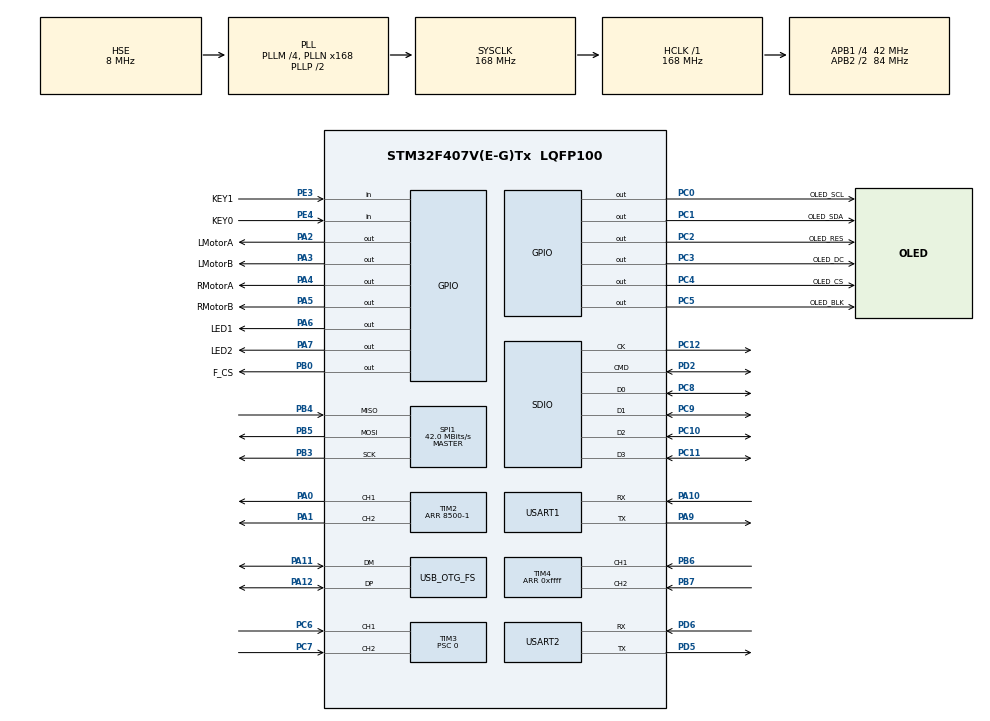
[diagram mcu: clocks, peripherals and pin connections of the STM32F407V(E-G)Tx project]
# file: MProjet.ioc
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Mcu.Family=STM32F4
Mcu.Name=STM32F407V(E-G)Tx
Mcu.Package=LQFP100
NVIC.PriorityGroup=NVIC_PRIORITYGROUP_4
NVIC.TIM8_TRG_COM_TIM14_IRQn=true\:0\:0\:false\:false\:true\:true\:true
NVIC.TIM8_UP_TIM13_IRQn=true\:0\:0\:false\:false\:true\:true\:true
NVIC.USART1_IRQn=true\:0\:0\:false\:false\:true\:true\:true
NVIC.USART2_IRQn=true\:0\:0\:false\:false\:true\:true\:true
PA0-WKUP.Signal=S_TIM2_CH1_ETR
PA1.Signal=S_TIM2_CH2
PA10.Mode=Asynchronous
PA10.Signal=USART1_RX
PA11.Mode=Host_Only
PA11.Signal=USB_OTG_FS_DM
PA12.Mode=Host_Only
PA12.Signal=USB_OTG_FS_DP
PA2.GPIO_Label=LMotorA
PA2.Signal=GPIO_Output
PA3.GPIO_Label=LMotorB
PA3.Signal=GPIO_Output
PA4.GPIO_Label=RMotorA
PA4.Signal=GPIO_Output
PA5.GPIO_Label=RMotorB
PA5.Signal=GPIO_Output
PA6.GPIO_Label=LED1
PA6.GPIO_ModeDefaultOutputPP=GPIO_MODE_OUTPUT_PP
PA6.GPIO_PuPd=GPIO_NOPULL
PA6.GPIO_Speed=GPIO_SPEED_FREQ_LOW
PA6.PinState=GPIO_PIN_RESET
PA6.Signal=GPIO_Output
PA7.GPIO_Label=LED2
PA7.GPIO_ModeDefaultOutputPP=GPIO_MODE_OUTPUT_PP
PA7.GPIO_PuPd=GPIO_NOPULL
PA7.GPIO_Speed=GPIO_SPEED_FREQ_LOW
PA7.PinState=GPIO_PIN_RESET
PA7.Signal=GPIO_Output
PA9.Mode=Asynchronous
PA9.Signal=USART1_TX
PB0.GPIO_Label=F_CS
PB0.Signal=GPIO_Output
PB3.Mode=Full_Duplex_Master
PB3.Signal=SPI1_SCK
PB4.Mode=Full_Duplex_Master
PB4.Signal=SPI1_MISO
PB5.Mode=Full_Duplex_Master
PB5.Signal=SPI1_MOSI
PB6.Signal=S_TIM4_CH1
PB7.Signal=S_TIM4_CH2
PC0.GPIO_Label=OLED_SCL
PC0.GPIO_ModeDefaultOutputPP=GPIO_MODE_OUTPUT_PP
PC0.GPIO_PuPd=GPIO_NOPULL
PC0.GPIO_Speed=GPIO_SPEED_FREQ_LOW
PC0.PinState=GPIO_PIN_RESET
PC0.Signal=GPIO_Output
PC1.GPIO_Label=OLED_SDA
PC1.GPIO_ModeDefaultOutputPP=GPIO_MODE_OUTPUT_PP
PC1.GPIO_PuPd=GPIO_NOPULL
PC1.GPIO_Speed=GPIO_SPEED_FREQ_LOW
PC1.PinState=GPIO_PIN_RESET
PC1.Signal=GPIO_Output
PC10.Mode=SD_4_bits_Wide_bus
PC10.Signal=SDIO_D2
PC11.Mode=SD_4_bits_Wide_bus
PC11.Signal=SDIO_D3
PC12.Mode=SD_4_bits_Wide_bus
PC12.Signal=SDIO_CK
PC14-OSC32_IN.Mode=LSE-External-Oscillator
PC14-OSC32_IN.Signal=RCC_OSC32_IN
PC15-OSC32_OUT.Mode=LSE-External-Oscillator
PC15-OSC32_OUT.Signal=RCC_OSC32_OUT
PC2.GPIO_Label=OLED_RES
PC2.GPIO_ModeDefaultOutputPP=GPIO_MODE_OUTPUT_PP
PC2.GPIO_PuPd=GPIO_NOPULL
PC2.GPIO_Speed=GPIO_SPEED_FREQ_LOW
PC2.PinState=GPIO_PIN_RESET
PC2.Signal=GPIO_Output
PC3.GPIO_Label=OLED_DC
PC3.GPIO_ModeDefaultOutputPP=GPIO_MODE_OUTPUT_PP
PC3.GPIO_PuPd=GPIO_NOPULL
PC3.GPIO_Speed=GPIO_SPEED_FREQ_LOW
PC3.PinState=GPIO_PIN_RESET
PC3.Signal=GPIO_Output
PC4.GPIO_Label=OLED_CS
PC4.Signal=GPIO_Output
PC5.GPIO_Label=OLED_BLK
PC5.GPIO_ModeDefaultOutputPP=GPIO_MODE_OUTPUT_PP
PC5.GPIO_PuPd=GPIO_NOPULL
PC5.GPIO_Speed=GPIO_SPEED_FREQ_LOW
PC5.PinState=GPIO_PIN_RESET
PC5.Signal=GPIO_Output
PC6.Signal=S_TIM3_CH1
PC7.Signal=S_TIM3_CH2
PC8.Mode=SD_4_bits_Wide_bus
PC8.Signal=SDIO_D0
PC9.Mode=SD_4_bits_Wide_bus
PC9.Signal=SDIO_D1
PD2.Mode=SD_4_bits_Wide_bus
PD2.Signal=SDIO_CMD
PD5.Mode=Asynchronous
PD5.Signal=USART2_TX
PD6.Mode=Asynchronous
PD6.Signal=USART2_RX
PE3.GPIO_Label=KEY1
PE3.Signal=GPIO_Input
PE4.GPIO_Label=KEY0
PE4.Signal=GPIO_Input
PH0-OSC_IN.Mode=HSE-External-Oscillator
PH0-OSC_IN.Signal=RCC_OSC_IN
PH1-OSC_OUT.Mode=HSE-External-Oscillator
PH1-OSC_OUT.Signal=RCC_OSC_OUT
ProjectManager.HeapSize=0x200
ProjectManager.StackSize=0x400
ProjectManager.TargetToolchain=MDK-ARM V5.27
RCC.48MHZClocksFreq_Value=48000000
RCC.AHBFreq_Value=168000000
RCC.APB1CLKDivider=RCC_HCLK_DIV4
RCC.APB1Freq_Value=42000000
RCC.APB1TimFreq_Value=84000000
RCC.APB2CLKDivider=RCC_HCLK_DIV2
RCC.APB2Freq_Value=84000000
RCC.APB2TimFreq_Value=168000000
RCC.CortexFreq_Value=168000000
RCC.HCLKFreq_Value=168000000
RCC.HSE_VALUE=8000000
RCC.HSI_VALUE=16000000
RCC.PLLM=4
RCC.PLLN=168
RCC.PLLQ=7
RCC.SYSCLKFreq_VALUE=168000000
RCC.SYSCLKSource=RCC_SYSCLKSOURCE_PLLCLK
RCC.VCOOutputFreq_Value=336000000
SH.S_TIM2_CH1_ETR.0=TIM2_CH1,PWM Generation1 CH1
SH.S_TIM2_CH2.0=TIM2_CH2,PWM Generation2 CH2
SH.S_TIM3_CH1.0=TIM3_CH1,Encoder_Interface
SH.S_TIM3_CH2.0=TIM3_CH2,Encoder_Interface
SH.S_TIM4_CH1.0=TIM4_CH1,Encoder_Interface
SH.S_TIM4_CH2.0=TIM4_CH2,Encoder_Interface
SPI1.BaudRatePrescaler=SPI_BAUDRATEPRESCALER_2
SPI1.CalculateBaudRate=42.0 MBits/s
SPI1.Direction=SPI_DIRECTION_2LINES
SPI1.Mode=SPI_MODE_MASTER
SPI1.VirtualType=VM_MASTER
TIM13.Period=1000-1
TIM13.Prescaler=840-1
TIM14.Period=1000-1
TIM14.Prescaler=840-1
TIM2.Channel-PWM\ Generation1\ CH1=TIM_CHANNEL_1
TIM2.Channel-PWM\ Generation2\ CH2=TIM_CHANNEL_2
TIM2.Period=8500-1
TIM3.EncoderMode=TIM_ENCODERMODE_TI12
TIM3.IC1Filter=15
TIM3.IC2Filter=15
TIM3.Period=0xffff
TIM3.Prescaler=0
TIM4.EncoderMode=TIM_ENCODERMODE_TI12
TIM4.IC1Filter=15
TIM4.IC2Filter=15
TIM4.Period=0xffff
TIM5.Period=1
TIM5.Prescaler=84-1
USART1.VirtualMode=VM_ASYNC
USART2.VirtualMode=VM_ASYNC
USB_OTG_FS.VirtualMode=Host_Only
USB_OTG_FS.phy_itface=HCD_PHY_EMBEDDED
VP_TIM13_VS_ClockSourceINT.Mode=Enable_Timer
VP_TIM14_VS_ClockSourceINT.Mode=Enable_Timer
VP_TIM5_VS_ClockSourceINT.Mode=Internal
board=custom

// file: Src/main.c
/* USER CODE BEGIN Header */
/**
  ******************************************************************************
  * @file           : main.c
  * @brief          : Main program body
  ******************************************************************************
  * @attention
  *
  * <h2><center>&copy; Copyright (c) 2019 STMicroelectronics.
  * All rights reserved.</center></h2>
  *
  * This software component is licensed by ST under BSD 3-Clause license,
  * the "License"; You may not use this file except in compliance with the
  * License. You may obtain a copy of the License at:
  *                        opensource.org/licenses/BSD-3-Clause
  *
  ******************************************************************************
  */
/* USER CODE END Header */

#include "main.h"

/* USER CODE BEGIN Includes */
#include "oled.h"
#include "key.h"
/* USER CODE END Includes */

SD_HandleTypeDef hsd;

SPI_HandleTypeDef hspi1;

TIM_HandleTypeDef htim2;
TIM_HandleTypeDef htim3;
TIM_HandleTypeDef htim4;
TIM_HandleTypeDef htim5;
TIM_HandleTypeDef htim13;
TIM_HandleTypeDef htim14;

UART_HandleTypeDef huart1;
UART_HandleTypeDef huart2;

HCD_HandleTypeDef hhcd_USB_OTG_FS;

void SystemClock_Config(void);
static void MX_GPIO_Init(void);
static void MX_TIM3_Init(void);
static void MX_USART1_UART_Init(void);
static void MX_TIM2_Init(void);
static void MX_TIM4_Init(void);
static void MX_TIM5_Init(void);
static void MX_TIM14_Init(void);
static void MX_SDIO_SD_Init(void);
static void MX_SPI1_Init(void);
static void MX_USB_OTG_FS_HCD_Init(void);
static void MX_USART2_UART_Init(void);
static void MX_TIM13_Init(void);
/* USER CODE BEGIN PFP */

void user_pwm_setvalue(uint16_t v1,uint16_t v2);
void HAL_Delay_us(uint16_t nus);

/* USER CODE END PFP */

/* USER CODE BEGIN 0 */

uint8_t ptim[] = "TIM2";//串口探针数据
uint16_t pulse1=4000,pulse2=4000;//两个PWM通道的脉宽值
uint8_t oled1[] = "LM";//OLED显示
uint8_t oled2[] = "RM";//OLED显示
uint32_t ecodl,ecodr;//两个电机100ms的脉冲数 由定时器13定时测量。
uint16_t tcount14;//定时器14计数值，每10ms记一个数。
uint8_t key0state,key1state,key0flag,key1flag;

/* USER CODE END 0 */

int main(void)
{

  /* MCU Configuration--------------------------------------------------------*/

  /* Reset of all peripherals, Initializes the Flash interface and the Systick. */
  HAL_Init();

  /* Configure the system clock */
  SystemClock_Config();

  /* Initialize all configured peripherals */
  MX_GPIO_Init();
  MX_TIM3_Init();
  MX_USART1_UART_Init();
  MX_TIM2_Init();
  MX_TIM4_Init();
  MX_TIM5_Init();
  MX_TIM14_Init();
  MX_SDIO_SD_Init();
  MX_SPI1_Init();
  MX_USB_OTG_FS_HCD_Init();
  MX_USART2_UART_Init();
  MX_TIM13_Init();
  /* USER CODE BEGIN 2 */

  HAL_TIM_Base_Start_IT(&htim14);
	HAL_Delay(5);
	HAL_TIM_Base_Start_IT(&htim13);
	Lcd_Init();			//初始化OLED
	LCD_Clear(WHITE);
	BACK_COLOR=BLACK;
  HAL_UART_Transmit(&huart1, (uint8_t *)ptim,sizeof(ptim),0xFFFF);
	user_pwm_setvalue(pulse1,pulse2);
	LCD_Clear(BLACK);
	LCD_ShowNum(28,0,0xef67,5,RED);
	HAL_TIM_Encoder_Start(&htim3, TIM_CHANNEL_ALL);
	HAL_TIM_Encoder_Start(&htim4, TIM_CHANNEL_ALL);
	LCD_ShowString(5,0,oled1,RED);
	LCD_ShowString(5,18,oled2,RED);
  /* USER CODE END 2 */

  /* Infinite loop */
  while (1)
  {

    /* USER CODE BEGIN 3 */
		LCD_ShowNum(28,0,ecodl,5,BLUE);
		LCD_ShowNum(28,18,ecodr,5,BLUE);
		HAL_Delay(50);
		if(key0flag==1)
		{
			LCD_ShowNum(28,36,0xeeee,5,BLUE);
			key0flag=0;

		}
		if(key1flag==1)
		{
			LCD_ShowNum(28,36,0xaaaa,5,BLUE);
			key1flag=0;

		}
/**********************TIM5延时测试******************************
		HAL_Delay_us(100);
		HAL_GPIO_TogglePin(LED1_GPIO_Port,LED1_Pin);
    HAL_GPIO_TogglePin(LED2_GPIO_Port,LED2_Pin);
****************************************************************/
//    if(HAL_GPIO_ReadPin(KEY0_GPIO_Port,KEY0_Pin)==0)
//		{
//			HAL_Delay_us(50);
//			if(HAL_GPIO_ReadPin(KEY0_GPIO_Port,KEY0_Pin)==0)
//			{
//				pulse1+=50;
//				if(pulse1>8400)
//				{
//					pulse1=2000;
//				}
//				user_pwm_setvalue(pulse1,pulse2);
//			}
//
//		}
//		LCD_ShowNum(28,0,0xef67,5,RED);
//		HAL_GPIO_TogglePin(LED1_GPIO_Port,LED1_Pin);
//    HAL_GPIO_TogglePin(LED2_GPIO_Port,LED2_Pin);

  }
  /* USER CODE END 3 */
}

void SystemClock_Config(void)
{
  RCC_OscInitTypeDef RCC_OscInitStruct = {0};
  RCC_ClkInitTypeDef RCC_ClkInitStruct = {0};

  /** Configure the main internal regulator output voltage
  */
  __HAL_RCC_PWR_CLK_ENABLE();
  __HAL_PWR_VOLTAGESCALING_CONFIG(PWR_REGULATOR_VOLTAGE_SCALE1);
  /** Initializes the CPU, AHB and APB busses clocks
  */
  RCC_OscInitStruct.OscillatorType = RCC_OSCILLATORTYPE_HSE;
  RCC_OscInitStruct.HSEState = RCC_HSE_ON;
  RCC_OscInitStruct.PLL.PLLState = RCC_PLL_ON;
  RCC_OscInitStruct.PLL.PLLSource = RCC_PLLSOURCE_HSE;
  RCC_OscInitStruct.PLL.PLLM = 4;
  RCC_OscInitStruct.PLL.PLLN = 168;
  RCC_OscInitStruct.PLL.PLLP = RCC_PLLP_DIV2;
  RCC_OscInitStruct.PLL.PLLQ = 7;
  if (HAL_RCC_OscConfig(&RCC_OscInitStruct) != HAL_OK)
  {
    Error_Handler();
  }
  /** Initializes the CPU, AHB and APB busses clocks
  */
  RCC_ClkInitStruct.ClockType = RCC_CLOCKTYPE_HCLK|RCC_CLOCKTYPE_SYSCLK
                              |RCC_CLOCKTYPE_PCLK1|RCC_CLOCKTYPE_PCLK2;
  RCC_ClkInitStruct.SYSCLKSource = RCC_SYSCLKSOURCE_PLLCLK;
  RCC_ClkInitStruct.AHBCLKDivider = RCC_SYSCLK_DIV1;
  RCC_ClkInitStruct.APB1CLKDivider = RCC_HCLK_DIV4;
  RCC_ClkInitStruct.APB2CLKDivider = RCC_HCLK_DIV2;

  if (HAL_RCC_ClockConfig(&RCC_ClkInitStruct, FLASH_LATENCY_5) != HAL_OK)
  {
    Error_Handler();
  }
}

static void MX_SDIO_SD_Init(void)
{

  hsd.Instance = SDIO;
  hsd.Init.ClockEdge = SDIO_CLOCK_EDGE_RISING;
  hsd.Init.ClockBypass = SDIO_CLOCK_BYPASS_DISABLE;
  hsd.Init.ClockPowerSave = SDIO_CLOCK_POWER_SAVE_DISABLE;
  hsd.Init.BusWide = SDIO_BUS_WIDE_1B;
  hsd.Init.HardwareFlowControl = SDIO_HARDWARE_FLOW_CONTROL_DISABLE;
  hsd.Init.ClockDiv = 0;
  if (HAL_SD_Init(&hsd) != HAL_OK)
  {
    Error_Handler();
  }
  if (HAL_SD_ConfigWideBusOperation(&hsd, SDIO_BUS_WIDE_4B) != HAL_OK)
  {
    Error_Handler();
  }

}

static void MX_SPI1_Init(void)
{

  /* SPI1 parameter configuration*/
  hspi1.Instance = SPI1;
  hspi1.Init.Mode = SPI_MODE_MASTER;
  hspi1.Init.Direction = SPI_DIRECTION_2LINES;
  hspi1.Init.DataSize = SPI_DATASIZE_8BIT;
  hspi1.Init.CLKPolarity = SPI_POLARITY_LOW;
  hspi1.Init.CLKPhase = SPI_PHASE_1EDGE;
  hspi1.Init.NSS = SPI_NSS_SOFT;
  hspi1.Init.BaudRatePrescaler = SPI_BAUDRATEPRESCALER_2;
  hspi1.Init.FirstBit = SPI_FIRSTBIT_MSB;
  hspi1.Init.TIMode = SPI_TIMODE_DISABLE;
  hspi1.Init.CRCCalculation = SPI_CRCCALCULATION_DISABLE;
  hspi1.Init.CRCPolynomial = 10;
  if (HAL_SPI_Init(&hspi1) != HAL_OK)
  {
    Error_Handler();
  }

}

static void MX_TIM2_Init(void)
{

  TIM_MasterConfigTypeDef sMasterConfig = {0};
  TIM_OC_InitTypeDef sConfigOC = {0};

  htim2.Instance = TIM2;
  htim2.Init.Prescaler = 0;
  htim2.Init.CounterMode = TIM_COUNTERMODE_UP;
  htim2.Init.Period = 8500-1;
  htim2.Init.ClockDivision = TIM_CLOCKDIVISION_DIV1;
  htim2.Init.AutoReloadPreload = TIM_AUTORELOAD_PRELOAD_DISABLE;
  if (HAL_TIM_PWM_Init(&htim2) != HAL_OK)
  {
    Error_Handler();
  }
  sMasterConfig.MasterOutputTrigger = TIM_TRGO_RESET;
  sMasterConfig.MasterSlaveMode = TIM_MASTERSLAVEMODE_DISABLE;
  if (HAL_TIMEx_MasterConfigSynchronization(&htim2, &sMasterConfig) != HAL_OK)
  {
    Error_Handler();
  }
  sConfigOC.OCMode = TIM_OCMODE_PWM1;
  sConfigOC.Pulse = 0;
  sConfigOC.OCPolarity = TIM_OCPOLARITY_HIGH;
  sConfigOC.OCFastMode = TIM_OCFAST_DISABLE;
  if (HAL_TIM_PWM_ConfigChannel(&htim2, &sConfigOC, TIM_CHANNEL_1) != HAL_OK)
  {
    Error_Handler();
  }
  if (HAL_TIM_PWM_ConfigChannel(&htim2, &sConfigOC, TIM_CHANNEL_2) != HAL_OK)
  {
    Error_Handler();
  }
  HAL_TIM_MspPostInit(&htim2);

}

static void MX_TIM3_Init(void)
{

  TIM_Encoder_InitTypeDef sConfig = {0};
  TIM_MasterConfigTypeDef sMasterConfig = {0};

  htim3.Instance = TIM3;
  htim3.Init.Prescaler = 0;
  htim3.Init.CounterMode = TIM_COUNTERMODE_UP;
  htim3.Init.Period = 0xffff;
  htim3.Init.ClockDivision = TIM_CLOCKDIVISION_DIV1;
  htim3.Init.AutoReloadPreload = TIM_AUTORELOAD_PRELOAD_DISABLE;
  sConfig.EncoderMode = TIM_ENCODERMODE_TI12;
  sConfig.IC1Polarity = TIM_ICPOLARITY_RISING;
  sConfig.IC1Selection = TIM_ICSELECTION_DIRECTTI;
  sConfig.IC1Prescaler = TIM_ICPSC_DIV1;
  sConfig.IC1Filter = 15;
  sConfig.IC2Polarity = TIM_ICPOLARITY_RISING;
  sConfig.IC2Selection = TIM_ICSELECTION_DIRECTTI;
  sConfig.IC2Prescaler = TIM_ICPSC_DIV1;
  sConfig.IC2Filter = 15;
  if (HAL_TIM_Encoder_Init(&htim3, &sConfig) != HAL_OK)
  {
    Error_Handler();
  }
  sMasterConfig.MasterOutputTrigger = TIM_TRGO_RESET;
  sMasterConfig.MasterSlaveMode = TIM_MASTERSLAVEMODE_DISABLE;
  if (HAL_TIMEx_MasterConfigSynchronization(&htim3, &sMasterConfig) != HAL_OK)
  {
    Error_Handler();
  }

}

static void MX_TIM4_Init(void)
{

  TIM_Encoder_InitTypeDef sConfig = {0};
  TIM_MasterConfigTypeDef sMasterConfig = {0};

  htim4.Instance = TIM4;
  htim4.Init.Prescaler = 0;
  htim4.Init.CounterMode = TIM_COUNTERMODE_UP;
  htim4.Init.Period = 0xffff;
  htim4.Init.ClockDivision = TIM_CLOCKDIVISION_DIV1;
  htim4.Init.AutoReloadPreload = TIM_AUTORELOAD_PRELOAD_DISABLE;
  sConfig.EncoderMode = TIM_ENCODERMODE_TI12;
  sConfig.IC1Polarity = TIM_ICPOLARITY_RISING;
  sConfig.IC1Selection = TIM_ICSELECTION_DIRECTTI;
  sConfig.IC1Prescaler = TIM_ICPSC_DIV1;
  sConfig.IC1Filter = 15;
  sConfig.IC2Polarity = TIM_ICPOLARITY_RISING;
  sConfig.IC2Selection = TIM_ICSELECTION_DIRECTTI;
  sConfig.IC2Prescaler = TIM_ICPSC_DIV1;
  sConfig.IC2Filter = 15;
  if (HAL_TIM_Encoder_Init(&htim4, &sConfig) != HAL_OK)
  {
    Error_Handler();
  }
  sMasterConfig.MasterOutputTrigger = TIM_TRGO_RESET;
  sMasterConfig.MasterSlaveMode = TIM_MASTERSLAVEMODE_DISABLE;
  if (HAL_TIMEx_MasterConfigSynchronization(&htim4, &sMasterConfig) != HAL_OK)
  {
    Error_Handler();
  }

}

static void MX_TIM5_Init(void)
{

  TIM_ClockConfigTypeDef sClockSourceConfig = {0};
  TIM_MasterConfigTypeDef sMasterConfig = {0};

  htim5.Instance = TIM5;
  htim5.Init.Prescaler = 84-1;
  htim5.Init.CounterMode = TIM_COUNTERMODE_UP;
  htim5.Init.Period = 1;
  htim5.Init.ClockDivision = TIM_CLOCKDIVISION_DIV1;
  htim5.Init.AutoReloadPreload = TIM_AUTORELOAD_PRELOAD_DISABLE;
  if (HAL_TIM_Base_Init(&htim5) != HAL_OK)
  {
    Error_Handler();
  }
  sClockSourceConfig.ClockSource = TIM_CLOCKSOURCE_INTERNAL;
  if (HAL_TIM_ConfigClockSource(&htim5, &sClockSourceConfig) != HAL_OK)
  {
    Error_Handler();
  }
  sMasterConfig.MasterOutputTrigger = TIM_TRGO_RESET;
  sMasterConfig.MasterSlaveMode = TIM_MASTERSLAVEMODE_DISABLE;
  if (HAL_TIMEx_MasterConfigSynchronization(&htim5, &sMasterConfig) != HAL_OK)
  {
    Error_Handler();
  }

}

static void MX_TIM13_Init(void)
{

  htim13.Instance = TIM13;
  htim13.Init.Prescaler = 840-1;
  htim13.Init.CounterMode = TIM_COUNTERMODE_UP;
  htim13.Init.Period = 1000-1;
  htim13.Init.ClockDivision = TIM_CLOCKDIVISION_DIV1;
  htim13.Init.AutoReloadPreload = TIM_AUTORELOAD_PRELOAD_DISABLE;
  if (HAL_TIM_Base_Init(&htim13) != HAL_OK)
  {
    Error_Handler();
  }

}

static void MX_TIM14_Init(void)
{

  htim14.Instance = TIM14;
  htim14.Init.Prescaler = 840-1;
  htim14.Init.CounterMode = TIM_COUNTERMODE_UP;
  htim14.Init.Period = 1000-1;
  htim14.Init.ClockDivision = TIM_CLOCKDIVISION_DIV1;
  htim14.Init.AutoReloadPreload = TIM_AUTORELOAD_PRELOAD_DISABLE;
  if (HAL_TIM_Base_Init(&htim14) != HAL_OK)
  {
    Error_Handler();
  }

}

static void MX_USART1_UART_Init(void)
{

  huart1.Instance = USART1;
  huart1.Init.BaudRate = 115200;
  huart1.Init.WordLength = UART_WORDLENGTH_8B;
  huart1.Init.StopBits = UART_STOPBITS_1;
  huart1.Init.Parity = UART_PARITY_NONE;
  huart1.Init.Mode = UART_MODE_TX_RX;
  huart1.Init.HwFlowCtl = UART_HWCONTROL_NONE;
  huart1.Init.OverSampling = UART_OVERSAMPLING_16;
  if (HAL_UART_Init(&huart1) != HAL_OK)
  {
    Error_Handler();
  }

}

static void MX_USART2_UART_Init(void)
{

  huart2.Instance = USART2;
  huart2.Init.BaudRate = 115200;
  huart2.Init.WordLength = UART_WORDLENGTH_8B;
  huart2.Init.StopBits = UART_STOPBITS_1;
  huart2.Init.Parity = UART_PARITY_NONE;
  huart2.Init.Mode = UART_MODE_TX_RX;
  huart2.Init.HwFlowCtl = UART_HWCONTROL_NONE;
  huart2.Init.OverSampling = UART_OVERSAMPLING_16;
  if (HAL_UART_Init(&huart2) != HAL_OK)
  {
    Error_Handler();
  }

}

static void MX_USB_OTG_FS_HCD_Init(void)
{

  hhcd_USB_OTG_FS.Instance = USB_OTG_FS;
  hhcd_USB_OTG_FS.Init.Host_channels = 8;
  hhcd_USB_OTG_FS.Init.speed = HCD_SPEED_FULL;
  hhcd_USB_OTG_FS.Init.dma_enable = DISABLE;
  hhcd_USB_OTG_FS.Init.phy_itface = HCD_PHY_EMBEDDED;
  hhcd_USB_OTG_FS.Init.Sof_enable = DISABLE;
  if (HAL_HCD_Init(&hhcd_USB_OTG_FS) != HAL_OK)
  {
    Error_Handler();
  }

}

static void MX_GPIO_Init(void)
{
  GPIO_InitTypeDef GPIO_InitStruct = {0};

  /* GPIO Ports Clock Enable */
  __HAL_RCC_GPIOE_CLK_ENABLE();
  __HAL_RCC_GPIOC_CLK_ENABLE();
  __HAL_RCC_GPIOH_CLK_ENABLE();
  __HAL_RCC_GPIOA_CLK_ENABLE();
  __HAL_RCC_GPIOB_CLK_ENABLE();
  __HAL_RCC_GPIOD_CLK_ENABLE();

  /*Configure GPIO pin Output Level */
  HAL_GPIO_WritePin(GPIOC, OLED_SCL_Pin|OLED_SDA_Pin|OLED_RES_Pin|OLED_DC_Pin
                          |OLED_CS_Pin|OLED_BLK_Pin, GPIO_PIN_RESET);

  /*Configure GPIO pin Output Level */
  HAL_GPIO_WritePin(GPIOA, LMotorA_Pin|LMotorB_Pin|RMotorA_Pin|RMotorB_Pin
                          |LED1_Pin|LED2_Pin, GPIO_PIN_RESET);

  /*Configure GPIO pin Output Level */
  HAL_GPIO_WritePin(F_CS_GPIO_Port, F_CS_Pin, GPIO_PIN_RESET);

  /*Configure GPIO pins : KEY1_Pin KEY0_Pin */
  GPIO_InitStruct.Pin = KEY1_Pin|KEY0_Pin;
  GPIO_InitStruct.Mode = GPIO_MODE_INPUT;
  GPIO_InitStruct.Pull = GPIO_NOPULL;
  HAL_GPIO_Init(GPIOE, &GPIO_InitStruct);

  /*Configure GPIO pins : OLED_SCL_Pin OLED_SDA_Pin OLED_RES_Pin OLED_DC_Pin
                           OLED_CS_Pin OLED_BLK_Pin */
  GPIO_InitStruct.Pin = OLED_SCL_Pin|OLED_SDA_Pin|OLED_RES_Pin|OLED_DC_Pin
                          |OLED_CS_Pin|OLED_BLK_Pin;
  GPIO_InitStruct.Mode = GPIO_MODE_OUTPUT_PP;
  GPIO_InitStruct.Pull = GPIO_NOPULL;
  GPIO_InitStruct.Speed = GPIO_SPEED_FREQ_LOW;
  HAL_GPIO_Init(GPIOC, &GPIO_InitStruct);

  /*Configure GPIO pins : LMotorA_Pin LMotorB_Pin RMotorA_Pin RMotorB_Pin
                           LED1_Pin LED2_Pin */
  GPIO_InitStruct.Pin = LMotorA_Pin|LMotorB_Pin|RMotorA_Pin|RMotorB_Pin
                          |LED1_Pin|LED2_Pin;
  GPIO_InitStruct.Mode = GPIO_MODE_OUTPUT_PP;
  GPIO_InitStruct.Pull = GPIO_NOPULL;
  GPIO_InitStruct.Speed = GPIO_SPEED_FREQ_LOW;
  HAL_GPIO_Init(GPIOA, &GPIO_InitStruct);

  /*Configure GPIO pin : F_CS_Pin */
  GPIO_InitStruct.Pin = F_CS_Pin;
  GPIO_InitStruct.Mode = GPIO_MODE_OUTPUT_PP;
  GPIO_InitStruct.Pull = GPIO_NOPULL;
  GPIO_InitStruct.Speed = GPIO_SPEED_FREQ_LOW;
  HAL_GPIO_Init(F_CS_GPIO_Port, &GPIO_InitStruct);

}

/* USER CODE BEGIN 4 */
/**
  * @brief  定时器中断函数
  * @param  V1 一通道的脉宽
  * @retval None
  */

void HAL_TIM_PeriodElapsedCallback(TIM_HandleTypeDef *htim)
{
  /* Prevent unused argument(s) compilation warning */
  UNUSED(htim);
  if(htim==&htim14)
	{
		tcount14++;
		if(tcount14==50)
		{
			HAL_GPIO_TogglePin(LED1_GPIO_Port,LED1_Pin);
			HAL_GPIO_TogglePin(LED2_GPIO_Port,LED2_Pin);
			tcount14=0;
		}
		keyvalue();
	}
	if(htim==&htim13)
	{
		ecodl = (uint32_t)(__HAL_TIM_GET_COUNTER(&htim3));
		ecodr = (uint32_t)(__HAL_TIM_GET_COUNTER(&htim4));
		__HAL_TIM_SetCounter(&htim3,0xffff);
		__HAL_TIM_SetCounter(&htim4,0xffff);
	}

}
/**
  * @brief  PWM脉宽赋值
  * @param  V1 一通道的脉宽
  * @param  V2 二通道的脉宽
  * @retval None
  */
void user_pwm_setvalue(uint16_t v1,uint16_t v2)
{
	TIM_OC_InitTypeDef sconfigoc,scfg2;

	sconfigoc.OCMode=TIM_OCMODE_PWM1;
	sconfigoc.Pulse=v1;
	sconfigoc.OCPolarity=TIM_OCPOLARITY_HIGH;
	sconfigoc.OCFastMode=TIM_OCFAST_DISABLE;
	HAL_TIM_PWM_ConfigChannel(&htim2,&sconfigoc,TIM_CHANNEL_1);
	HAL_TIM_PWM_Start(&htim2,TIM_CHANNEL_1);

	scfg2.OCMode=TIM_OCMODE_PWM1;
	scfg2.Pulse=v2;
	scfg2.OCPolarity=TIM_OCPOLARITY_HIGH;
	scfg2.OCFastMode=TIM_OCFAST_DISABLE;
	HAL_TIM_PWM_ConfigChannel(&htim2,&scfg2,TIM_CHANNEL_2);
	HAL_TIM_PWM_Start(&htim2,TIM_CHANNEL_2);
}
/**
  * @brief  利用定时器5实现微秒延时函数
  * @param  nus 要延时的微秒数
  * @retval None
  */
void HAL_Delay_us(uint16_t nus)
{
	uint16_t count;
	count=0xffff-nus-10;

	__HAL_TIM_SET_COUNTER(&htim5,count);
  HAL_TIM_Base_Start(&htim5);

	while(count<0xffff-10)
	{
		count=__HAL_TIM_GET_COUNTER(&htim5);
	}
	HAL_TIM_Base_Stop(&htim5);
}

/* USER CODE END 4 */

void Error_Handler(void)
{
}

/************************ (C) COPYRIGHT STMicroelectronics *****END OF FILE****/
